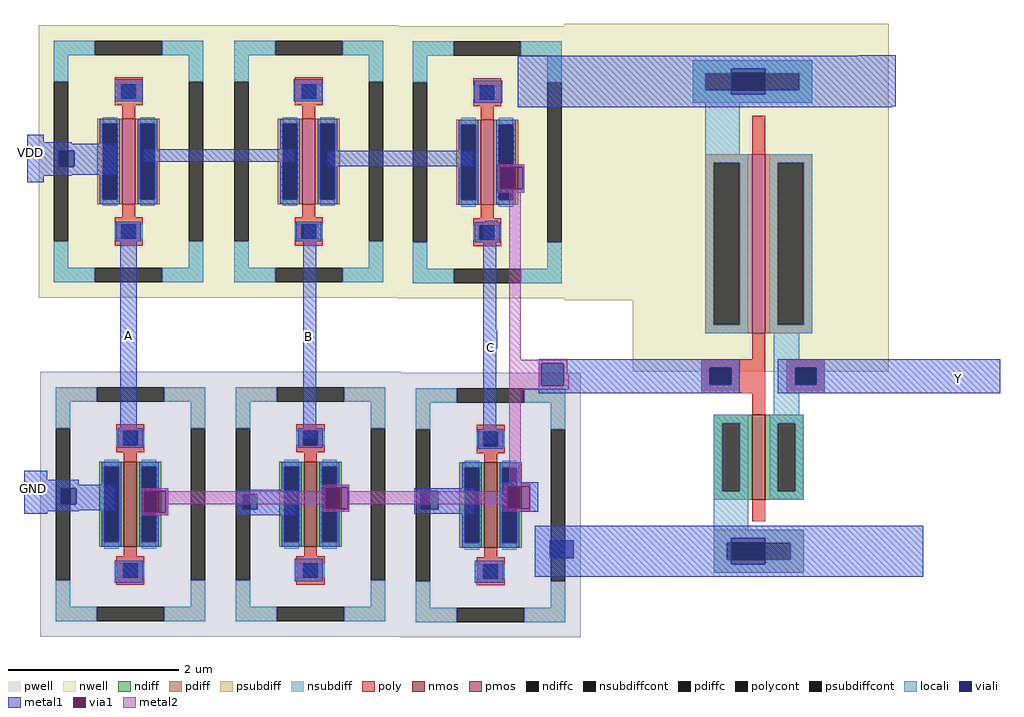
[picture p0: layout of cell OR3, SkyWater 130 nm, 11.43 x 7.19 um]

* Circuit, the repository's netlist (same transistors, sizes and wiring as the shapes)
* SPICE3 file created from OR3.ext - technology: sky130A

.subckt sky130_fd_pr__pfet_01v8_KBS6X7 B D S G VSUBS
X0 S G D B sky130_fd_pr__pfet_01v8 ad=0.29 pd=2.58 as=0.29 ps=2.58 w=1 l=0.15
.ends

.subckt sky130_fd_pr__nfet_01v8_SFU2NW B D S G
X0 S G D B sky130_fd_pr__nfet_01v8 ad=0.29 pd=2.58 as=0.29 ps=2.58 w=1 l=0.15
.ends

.subckt NOR3 Y VDD A C B GND
XXM5 VDD VDD XM7/D A GND sky130_fd_pr__pfet_01v8_KBS6X7
XXM6 GND GND Y A sky130_fd_pr__nfet_01v8_SFU2NW
XXM7 VDD XM7/D XM9/D B GND sky130_fd_pr__pfet_01v8_KBS6X7
XXM8 GND GND Y B sky130_fd_pr__nfet_01v8_SFU2NW
XXM9 VDD XM9/D Y C GND sky130_fd_pr__pfet_01v8_KBS6X7
XXM10 GND GND Y C sky130_fd_pr__nfet_01v8_SFU2NW
*C0 VDD GND 3.366326f
.ends

.subckt INV vdd vss out in
X0 out in vdd vdd sky130_fd_pr__pfet_01v8 ad=1.155 pd=5.3 as=1.155 ps=5.3 w=2.1 l=0.15
X1 out in vss vss sky130_fd_pr__nfet_01v8 ad=0.45 pd=2.9 as=0.45 ps=2.9 w=1 l=0.15
.ends

**.subckt OR3
XNOR3_0 NOR3_0/Y VDD A C B GND NOR3
XINV_0 VDD GND Y NOR3_0/Y INV
*C0 VDD GND 5.117639f
**.ends

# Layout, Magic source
magic
tech sky130A
<< nwell >>
rect 627 390 1007 714
<< viali >>
rect 610 88 638 109
<< metal1 >>
rect -2 528 17 584
rect 107 333 125 359
rect 321 328 335 361
rect 533 333 548 355
rect 1077 281 1117 321
rect -6 140 21 190
<< via1 >>
rect 600 290 626 316
<< metal2 >>
rect 565 316 630 320
rect 565 303 600 316
rect 564 290 600 303
rect 626 303 630 316
rect 626 290 632 303
rect 564 285 632 290
use INV  INV_0
transform 1 0 857 0 1 456
box -285 -390 280 235
use NOR3  NOR3_0
transform 1 0 101 0 1 -14
box -102 9 545 726
<< labels >>
rlabel metal1 1088 298 1088 298 1 Y
rlabel metal1 540 335 540 335 1 C
rlabel metal1 327 348 327 348 1 B
rlabel metal1 116 349 116 349 1 A
rlabel metal1 5 170 5 170 1 GND
rlabel metal1 2 563 2 563 1 VDD
<< end >>

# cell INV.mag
magic
tech sky130A
<< nwell >>
rect -150 -150 150 235
<< nmos >>
rect -10 -300 5 -200
<< pmos >>
rect -10 -105 5 105
<< ndiff >>
rect -55 -210 -10 -200
rect -55 -290 -45 -210
rect -25 -290 -10 -210
rect -55 -300 -10 -290
rect 5 -210 50 -200
rect 5 -290 20 -210
rect 40 -290 50 -210
rect 5 -300 50 -290
<< pdiff >>
rect -65 95 -10 105
rect -65 -95 -55 95
rect -25 -95 -10 95
rect -65 -105 -10 -95
rect 5 95 60 105
rect 5 -95 20 95
rect 50 -95 60 95
rect 5 -105 60 -95
<< ndiffc >>
rect -45 -290 -25 -210
rect 20 -290 40 -210
<< pdiffc >>
rect -55 -95 -25 95
rect 20 -95 50 95
<< psubdiff >>
rect -55 -350 50 -335
rect -55 -370 -40 -350
rect 35 -370 50 -350
rect -55 -385 50 -370
<< nsubdiff >>
rect -80 200 60 215
rect -80 180 -65 200
rect 45 180 60 200
rect -80 165 60 180
<< psubdiffcont >>
rect -40 -370 35 -350
<< nsubdiffcont >>
rect -65 180 45 200
<< poly >>
rect -10 105 5 150
rect -10 -135 5 -105
rect -70 -145 5 -135
rect -70 -165 -60 -145
rect -35 -165 5 -145
rect -70 -175 5 -165
rect 30 -145 75 -135
rect 30 -165 40 -145
rect 65 -165 75 -145
rect 30 -175 75 -165
rect -10 -200 5 -175
rect -10 -325 5 -300
<< polycont >>
rect -60 -165 -35 -145
rect 40 -165 65 -145
<< locali >>
rect -80 205 60 215
rect -80 200 -35 205
rect 5 200 60 205
rect -80 180 -65 200
rect 45 180 60 200
rect -80 175 -35 180
rect 5 175 60 180
rect -80 165 60 175
rect -65 105 -25 165
rect -65 95 -15 105
rect -65 -95 -55 95
rect -25 -95 -15 95
rect -65 -105 -15 -95
rect 10 95 60 105
rect 10 -95 20 95
rect 50 -95 60 95
rect 10 -105 60 -95
rect 15 -135 45 -105
rect -70 -145 -25 -135
rect -70 -165 -60 -145
rect -35 -165 -25 -145
rect -70 -175 -25 -165
rect 15 -145 75 -135
rect 15 -165 40 -145
rect 65 -165 75 -145
rect 15 -175 75 -165
rect 15 -200 45 -175
rect -55 -210 -15 -200
rect -55 -290 -45 -210
rect -25 -290 -15 -210
rect -55 -335 -15 -290
rect 10 -210 50 -200
rect 10 -290 20 -210
rect 40 -290 50 -210
rect 10 -300 50 -290
rect -55 -345 50 -335
rect -55 -350 -35 -345
rect 5 -350 50 -345
rect -55 -370 -40 -350
rect 35 -370 50 -350
rect -55 -375 -35 -370
rect 5 -375 50 -370
rect -55 -385 50 -375
<< viali >>
rect -35 200 5 205
rect -35 180 5 200
rect -35 175 5 180
rect -60 -165 -35 -145
rect 40 -165 65 -145
rect -35 -350 5 -345
rect -35 -370 5 -350
rect -35 -375 5 -370
<< metal1 >>
rect 114 220 158 221
rect -285 205 158 220
rect -285 175 -35 205
rect 5 175 158 205
rect -285 161 158 175
rect -285 160 154 161
rect -260 -145 -25 -135
rect -260 -165 -60 -145
rect -35 -165 -25 -145
rect -260 -175 -25 -165
rect 20 -145 280 -135
rect 20 -165 40 -145
rect 65 -165 280 -145
rect 20 -175 280 -165
rect -265 -345 190 -330
rect -265 -375 -35 -345
rect 5 -375 190 -345
rect -265 -390 190 -375
<< labels >>
rlabel metal1 155 196 155 196 1 vdd
rlabel metal1 250 -165 265 -145 1 out
rlabel metal1 175 -360 175 -360 1 vss
rlabel metal1 -240 -165 -225 -145 1 in
<< end >>

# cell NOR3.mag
magic
tech sky130A
magscale 1 2
<< viali >>
rect -134 1120 -96 1158
rect -128 330 -92 368
rect 298 318 332 354
rect 714 318 756 360
<< metal1 >>
rect -2 1274 64 1326
rect 418 1274 484 1326
rect 840 1270 906 1322
rect -204 1174 -102 1178
rect -204 1158 2 1174
rect -204 1120 -134 1158
rect -96 1120 2 1158
rect 66 1132 420 1162
rect 498 1122 838 1158
rect -204 1102 2 1120
rect 894 1120 958 1126
rect -204 1100 -102 1102
rect 894 1068 900 1120
rect 954 1068 958 1120
rect 894 1060 958 1068
rect 866 990 894 994
rect 866 988 892 990
rect 12 470 50 986
rect 440 484 470 986
rect 862 478 892 988
rect 862 472 888 478
rect -196 376 -86 388
rect -196 368 0 376
rect 486 370 548 376
rect -196 330 -128 368
rect -92 330 0 368
rect -196 316 0 330
rect 62 362 124 368
rect -196 314 -86 316
rect 62 310 66 362
rect 118 310 124 362
rect 62 304 124 310
rect 284 354 424 364
rect 284 318 298 354
rect 332 318 424 354
rect 284 304 424 318
rect 486 318 492 370
rect 544 318 548 370
rect 906 372 990 382
rect 486 312 548 318
rect 700 360 840 368
rect 700 318 714 360
rect 756 318 840 360
rect 700 308 840 318
rect 906 320 918 372
rect 970 320 990 372
rect 906 312 990 320
rect -2 146 64 198
rect 420 150 486 202
rect 842 146 908 198
<< via1 >>
rect 900 1068 954 1120
rect 66 310 118 362
rect 492 318 544 370
rect 918 320 970 372
<< metal2 >>
rect 894 1120 958 1126
rect 894 1068 900 1120
rect 954 1068 958 1120
rect 894 1060 958 1068
rect 922 378 950 1060
rect 486 370 548 376
rect 62 362 124 368
rect 62 310 66 362
rect 118 360 124 362
rect 486 360 492 370
rect 118 330 492 360
rect 118 310 124 330
rect 486 318 492 330
rect 544 360 548 370
rect 910 372 972 378
rect 910 360 918 372
rect 544 330 918 360
rect 544 318 548 330
rect 486 312 548 318
rect 910 320 918 330
rect 970 320 972 372
rect 910 314 972 320
rect 62 304 124 310
use sky130_fd_pr__pfet_01v8_KBS6X7  XM5
transform 1 0 31 0 1 1133
box -211 -319 211 319
use sky130_fd_pr__nfet_01v8_SFU2NW  XM6
transform 1 0 35 0 1 330
box -211 -310 211 310
use sky130_fd_pr__pfet_01v8_KBS6X7  XM7
transform 1 0 453 0 1 1133
box -211 -319 211 319
use sky130_fd_pr__nfet_01v8_SFU2NW  XM8
transform 1 0 457 0 1 330
box -211 -310 211 310
use sky130_fd_pr__pfet_01v8_KBS6X7  XM9
transform 1 0 871 0 1 1131
box -211 -319 211 319
use sky130_fd_pr__nfet_01v8_SFU2NW  XM10
transform 1 0 879 0 1 328
box -211 -310 211 310
<< labels >>
rlabel metal1 -196 1130 -196 1130 1 VDD
rlabel metal1 -188 342 -188 342 1 GND
rlabel metal1 22 716 22 716 1 A
rlabel metal1 450 716 450 716 1 B
rlabel metal1 876 716 876 716 1 C
rlabel metal1 980 342 980 342 1 Y
<< end >>

# cell sky130_fd_pr__pfet_01v8_KBS6X7: kit device sky130_fd_pr__pfet_01v8, w 1.0 l 0.15 m 1 nf 1 diffcov 100 polycov 100 guard 1 glc 1 grc 1 gtc 1 gbc 1 tbcov 100 rlcov 100 topc 1 botc 1 poverlap 0 doverlap 1 lmin 0.15 wmin 0.42 class mosfet compatible {sky130_fd_pr__pfet_01v8 sky130_fd_pr__pfet_01v8_lvt sky130_fd_pr__pfet_01v8_hvt sky130_fd_pr__pfet_g5v0d10v5} full_metal 1 viasrc 100 viadrn 100 viagate 100 viagb 0 viagr 0 viagl 0 viagt 0 doports 1 ad {int((nf+1)/2) * W/nf * 0.29} as {int((nf+2)/2) * W/nf * 0.29} pd {2*int((nf+1)/2) * (W/nf + 0.29)} ps {2*int((nf+2)/2) * (W/nf + 0.29)} nrd {0.29 / W} nrs {0.29 / W} sa 0 sb 0 sd 0 mult 1

# cell sky130_fd_pr__nfet_01v8_SFU2NW: kit device sky130_fd_pr__nfet_01v8, w 1.0 l 0.15 m 1 nf 1 diffcov 100 polycov 100 guard 1 glc 1 grc 1 gtc 1 gbc 1 tbcov 100 rlcov 100 topc 1 botc 1 poverlap 0 doverlap 1 lmin 0.15 wmin 0.42 class mosfet compatible {sky130_fd_pr__nfet_01v8 sky130_fd_pr__nfet_01v8_lvt sky130_fd_bs_flash__special_sonosfet_star sky130_fd_pr__nfet_g5v0d10v5 sky130_fd_pr__nfet_05v0_nvt sky130_fd_pr__nfet_03v3_nvt} full_metal 1 viasrc 100 viadrn 100 viagate 100 viagb 0 viagr 0 viagl 0 viagt 0 doports 1 ad {int((nf+1)/2) * W/nf * 0.29} as {int((nf+2)/2) * W/nf * 0.29} pd {2*int((nf+1)/2) * (W/nf + 0.29)} ps {2*int((nf+2)/2) * (W/nf + 0.29)} nrd {0.29 / W} nrs {0.29 / W} sa 0 sb 0 sd 0 mult 1
